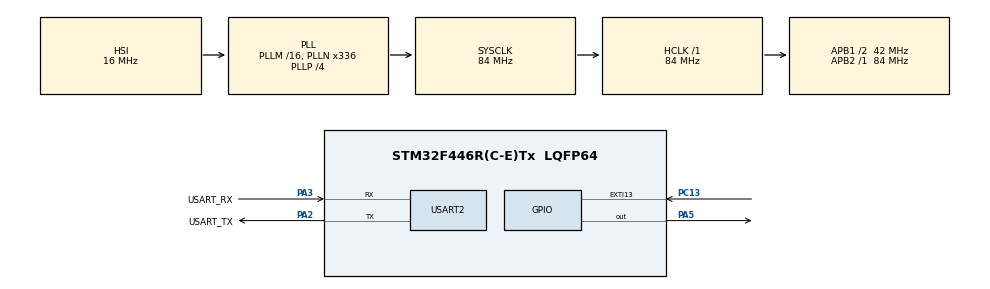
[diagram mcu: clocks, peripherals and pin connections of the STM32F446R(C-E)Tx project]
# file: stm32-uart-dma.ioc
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Dma.Request0=USART2_TX
Dma.Request1=USART2_RX
Dma.USART2_RX.1.Direction=DMA_PERIPH_TO_MEMORY
Dma.USART2_RX.1.FIFOMode=DMA_FIFOMODE_DISABLE
Dma.USART2_RX.1.Instance=DMA1_Stream5
Dma.USART2_RX.1.MemDataAlignment=DMA_MDATAALIGN_BYTE
Dma.USART2_RX.1.MemInc=DMA_MINC_ENABLE
Dma.USART2_RX.1.Mode=DMA_NORMAL
Dma.USART2_RX.1.PeriphDataAlignment=DMA_PDATAALIGN_BYTE
Dma.USART2_RX.1.PeriphInc=DMA_PINC_DISABLE
Dma.USART2_RX.1.Priority=DMA_PRIORITY_LOW
Dma.USART2_TX.0.Direction=DMA_MEMORY_TO_PERIPH
Dma.USART2_TX.0.FIFOMode=DMA_FIFOMODE_DISABLE
Dma.USART2_TX.0.Instance=DMA1_Stream6
Dma.USART2_TX.0.MemDataAlignment=DMA_MDATAALIGN_BYTE
Dma.USART2_TX.0.MemInc=DMA_MINC_ENABLE
Dma.USART2_TX.0.Mode=DMA_NORMAL
Dma.USART2_TX.0.PeriphDataAlignment=DMA_PDATAALIGN_BYTE
Dma.USART2_TX.0.PeriphInc=DMA_PINC_DISABLE
Dma.USART2_TX.0.Priority=DMA_PRIORITY_LOW
Mcu.Family=STM32F4
Mcu.Name=STM32F446R(C-E)Tx
Mcu.Package=LQFP64
NUCLEO-F446RE.BUTTON=1
NUCLEO-F446RE.LD1=true
NVIC.DMA1_Stream5_IRQn=true\:0\:0\:false\:false\:true\:false\:true\:true
NVIC.DMA1_Stream6_IRQn=true\:0\:0\:false\:false\:true\:false\:true\:true
NVIC.EXTI15_10_IRQn=true\:0\:0\:false\:false\:true\:false\:true\:true
NVIC.PriorityGroup=NVIC_PRIORITYGROUP_0
NVIC.USART2_IRQn=true\:0\:0\:false\:false\:true\:true\:true\:true
PA13.GPIO_Label=TMS
PA13.Signal=SYS_JTMS-SWDIO
PA14.GPIO_Label=TCK
PA14.Signal=SYS_JTCK-SWCLK
PA2.GPIO_Label=USART_TX
PA2.Mode=Asynchronous
PA2.Signal=USART2_TX
PA3.GPIO_Label=USART_RX
PA3.Mode=Asynchronous
PA3.Signal=USART2_RX
PA5.Signal=GPIO_Output
PB3.GPIO_Label=SWO
PB3.Signal=SYS_JTDO-SWO
PC13.Signal=GPXTI13
PC14-OSC32_IN.Signal=RCC_OSC32_IN
PC15-OSC32_OUT.Signal=RCC_OSC32_OUT
PH0-OSC_IN.Signal=RCC_OSC_IN
PH1-OSC_OUT.Signal=RCC_OSC_OUT
ProjectManager.HeapSize=0x200
ProjectManager.StackSize=0x400
ProjectManager.TargetToolchain=STM32CubeIDE
RCC.AHBFreq_Value=84000000
RCC.APB1CLKDivider=RCC_HCLK_DIV2
RCC.APB1Freq_Value=42000000
RCC.APB1TimFreq_Value=84000000
RCC.APB2Freq_Value=84000000
RCC.APB2TimFreq_Value=84000000
RCC.CortexFreq_Value=84000000
RCC.FLatency-AdvancedSettings=FLASH_LATENCY_2
RCC.HCLKFreq_Value=84000000
RCC.HSE_VALUE=8000000
RCC.HSI_VALUE=16000000
RCC.LSE_VALUE=32768
RCC.PLLN=336
RCC.PLLP=RCC_PLLP_DIV4
RCC.SYSCLKFreq_VALUE=84000000
RCC.SYSCLKSource=RCC_SYSCLKSOURCE_PLLCLK
RCC.USBFreq_Value=168000000
RCC.VCOOutputFreq_Value=336000000
USART2.VirtualMode=VM_ASYNC
VP_NUCLEO-F446RE_VS_BSP_COMMON.Mode=COMMON
board=NUCLEO-F446RE

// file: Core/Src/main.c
/* USER CODE BEGIN Header */
/**
 ******************************************************************************
 * @file           : main.c
 * @brief          : Main program body
 ******************************************************************************
 * @attention
 *
 * Copyright (c) 2026 STMicroelectronics.
 * All rights reserved.
 *
 * This software is licensed under terms that can be found in the LICENSE file
 * in the root directory of this software component.
 * If no LICENSE file comes with this software, it is provided AS-IS.
 *
 ******************************************************************************
 */
/* USER CODE END Header */
#include "main.h"

/* USER CODE BEGIN Includes */

#include <stdio.h>
#include <string.h>

/* USER CODE END Includes */

UART_HandleTypeDef huart2;
DMA_HandleTypeDef hdma_usart2_tx;
DMA_HandleTypeDef hdma_usart2_rx;

/* USER CODE BEGIN PV */

/* USER CODE BEGIN PV */

uint8_t rx_buffer[64];
uint8_t tx_buffer[64];

uint8_t command_buffer[64];

volatile uint16_t command_index = 0;
volatile uint8_t command_ready = 0;
volatile uint8_t command_overflow = 0;

volatile uint8_t uart_tx_busy = 0;

// 0 - LED OFF
// 1 - LED ON
// 2 - LED BLINK
volatile uint8_t led_mode = 0;

uint32_t last_led_update = 0;

/* USER CODE END PV */

/* USER CODE END PV */

void SystemClock_Config(void);
static void MX_GPIO_Init(void);
static void MX_DMA_Init(void);
static void MX_USART2_UART_Init(void);
/* USER CODE BEGIN PFP */

void Process_Command(void);

/* USER CODE END PFP */

int main(void) {

	/* MCU Configuration--------------------------------------------------------*/

	/* Reset of all peripherals, Initializes the Flash interface and the Systick. */
	HAL_Init();

	/* Configure the system clock */
	SystemClock_Config();

	/* Initialize all configured peripherals */
	MX_GPIO_Init();
	MX_DMA_Init();
	MX_USART2_UART_Init();
	/* USER CODE BEGIN 2 */

	/* Initialize leds */
	BSP_LED_Init(LED2);

	// HAL_UART_Receive_DMA(&huart2, rx_buffer, sizeof(rx_buffer));
	HAL_UARTEx_ReceiveToIdle_DMA(&huart2, rx_buffer, sizeof(rx_buffer));

	/* USER CODE END 2 */

	/* Initialize USER push-button, will be used to trigger an interrupt each time it's pressed.*/
	BSP_PB_Init(BUTTON_USER, BUTTON_MODE_EXTI);

	/* Infinite loop */
	while (1) {

		/* USER CODE BEGIN 3 */

		if (command_ready == 1 && uart_tx_busy == 0)
		{
		    command_ready = 0;

		    Process_Command();

		    command_index = 0;
		    command_overflow = 0;

		    HAL_UARTEx_ReceiveToIdle_DMA(
		        &huart2,
		        rx_buffer,
		        sizeof(rx_buffer)
		    );

		    __HAL_DMA_DISABLE_IT(huart2.hdmarx, DMA_IT_HT);

		    uart_tx_busy = 1;

		    if (HAL_UART_Transmit_DMA(
		            &huart2,
		            tx_buffer,
		            strlen((char *)tx_buffer)) != HAL_OK)
		    {
		        uart_tx_busy = 0;
		    }
		}

		if (led_mode == 2)
		{
		    if (HAL_GetTick() - last_led_update >= 500)
		    {
		        last_led_update = HAL_GetTick();
		        BSP_LED_Toggle(LED2);
		    }
		}

	}

//	Welcome to minicom 2.9
//
//	OPTIONS: I18n
//	Port /dev/ttyACM0, 14:48:08
//
//	Press CTRL-A Z for help on special keys
//
//	LED is ON
//	LED is OFF
//	LED is BLINKING
//	Unknown command
//	LED is OFF
//	LED is ON
//	Unknown command
//	LED is BLINKING

	/* USER CODE END 3 */
}

void SystemClock_Config(void) {
	RCC_OscInitTypeDef RCC_OscInitStruct = { 0 };
	RCC_ClkInitTypeDef RCC_ClkInitStruct = { 0 };

	/** Configure the main internal regulator output voltage
	 */
	__HAL_RCC_PWR_CLK_ENABLE();
	__HAL_PWR_VOLTAGESCALING_CONFIG(PWR_REGULATOR_VOLTAGE_SCALE3);

	/** Initializes the RCC Oscillators according to the specified parameters
	 * in the RCC_OscInitTypeDef structure.
	 */
	RCC_OscInitStruct.OscillatorType = RCC_OSCILLATORTYPE_HSI;
	RCC_OscInitStruct.HSIState = RCC_HSI_ON;
	RCC_OscInitStruct.HSICalibrationValue = RCC_HSICALIBRATION_DEFAULT;
	RCC_OscInitStruct.PLL.PLLState = RCC_PLL_ON;
	RCC_OscInitStruct.PLL.PLLSource = RCC_PLLSOURCE_HSI;
	RCC_OscInitStruct.PLL.PLLM = 16;
	RCC_OscInitStruct.PLL.PLLN = 336;
	RCC_OscInitStruct.PLL.PLLP = RCC_PLLP_DIV4;
	RCC_OscInitStruct.PLL.PLLQ = 2;
	RCC_OscInitStruct.PLL.PLLR = 2;
	if (HAL_RCC_OscConfig(&RCC_OscInitStruct) != HAL_OK) {
		Error_Handler();
	}

	/** Initializes the CPU, AHB and APB buses clocks
	 */
	RCC_ClkInitStruct.ClockType = RCC_CLOCKTYPE_HCLK | RCC_CLOCKTYPE_SYSCLK
			| RCC_CLOCKTYPE_PCLK1 | RCC_CLOCKTYPE_PCLK2;
	RCC_ClkInitStruct.SYSCLKSource = RCC_SYSCLKSOURCE_PLLCLK;
	RCC_ClkInitStruct.AHBCLKDivider = RCC_SYSCLK_DIV1;
	RCC_ClkInitStruct.APB1CLKDivider = RCC_HCLK_DIV2;
	RCC_ClkInitStruct.APB2CLKDivider = RCC_HCLK_DIV1;

	if (HAL_RCC_ClockConfig(&RCC_ClkInitStruct, FLASH_LATENCY_2) != HAL_OK) {
		Error_Handler();
	}
}

static void MX_USART2_UART_Init(void) {

	huart2.Instance = USART2;
	huart2.Init.BaudRate = 115200;
	huart2.Init.WordLength = UART_WORDLENGTH_8B;
	huart2.Init.StopBits = UART_STOPBITS_1;
	huart2.Init.Parity = UART_PARITY_NONE;
	huart2.Init.Mode = UART_MODE_TX_RX;
	huart2.Init.HwFlowCtl = UART_HWCONTROL_NONE;
	huart2.Init.OverSampling = UART_OVERSAMPLING_16;
	if (HAL_UART_Init(&huart2) != HAL_OK) {
		Error_Handler();
	}

}

static void MX_DMA_Init(void) {

	/* DMA controller clock enable */
	__HAL_RCC_DMA1_CLK_ENABLE();

	/* DMA interrupt init */
	/* DMA1_Stream5_IRQn interrupt configuration */
	HAL_NVIC_SetPriority(DMA1_Stream5_IRQn, 0, 0);
	HAL_NVIC_EnableIRQ(DMA1_Stream5_IRQn);
	/* DMA1_Stream6_IRQn interrupt configuration */
	HAL_NVIC_SetPriority(DMA1_Stream6_IRQn, 0, 0);
	HAL_NVIC_EnableIRQ(DMA1_Stream6_IRQn);

}

static void MX_GPIO_Init(void) {

	/* GPIO Ports Clock Enable */
	__HAL_RCC_GPIOC_CLK_ENABLE();
	__HAL_RCC_GPIOH_CLK_ENABLE();
	__HAL_RCC_GPIOA_CLK_ENABLE();
	__HAL_RCC_GPIOB_CLK_ENABLE();

}

/* USER CODE BEGIN 4 */

void HAL_UART_TxCpltCallback(UART_HandleTypeDef *huart) {

	if (huart->Instance == USART2) {
		uart_tx_busy = 0;
	}
}

void HAL_UARTEx_RxEventCallback(
        UART_HandleTypeDef *huart,
        uint16_t Size)
{
    if (huart->Instance == USART2)
    {
        for (uint16_t i = 0; i < Size; i++)
        {
            uint8_t received_char = rx_buffer[i];

            if (received_char == '\r' || received_char == '\n')
            {
                if (command_index > 0 && command_ready == 0)
                {
                    command_buffer[command_index] = '\0';
                    command_ready = 1;
                }
            }
            else
            {
                if (command_ready == 0 && command_overflow == 0)
                {
                    if (command_index < sizeof(command_buffer) - 1)
                    {
                        command_buffer[command_index] = received_char;
                        command_index++;
                    }
                    else
                    {
                        command_overflow = 1;
                    }
                }
            }
        }

        if (command_ready == 0)
        {
            HAL_UARTEx_ReceiveToIdle_DMA(
                &huart2,
                rx_buffer,
                sizeof(rx_buffer)
            );

            __HAL_DMA_DISABLE_IT(huart2.hdmarx, DMA_IT_HT);
        }
    }
}

void Process_Command(void)
{
    if (command_overflow == 1)
    {
        strcpy((char *)tx_buffer, "Command too long\r\n");
        return;
    }

    if (strcmp((char *)command_buffer, "LED ON") == 0)
    {
        led_mode = 1;

        BSP_LED_On(LED2);

        strcpy((char *)tx_buffer, "LED is ON\r\n");
    }
    else if (strcmp((char *)command_buffer, "LED OFF") == 0)
    {
        led_mode = 0;

        BSP_LED_Off(LED2);

        strcpy((char *)tx_buffer, "LED is OFF\r\n");
    }
    else if (strcmp((char *)command_buffer, "LED BLINK") == 0)
    {
        led_mode = 2;

        last_led_update = HAL_GetTick();

        strcpy((char *)tx_buffer, "LED is BLINKING\r\n");
    }
    else if (strcmp((char *)command_buffer, "STATUS") == 0)
    {
        if (led_mode == 0)
        {
            strcpy((char *)tx_buffer, "LED status: OFF\r\n");
        }
        else if (led_mode == 1)
        {
            strcpy((char *)tx_buffer, "LED status: ON\r\n");
        }
        else
        {
            strcpy((char *)tx_buffer, "LED status: BLINKING\r\n");
        }
    }
    else
    {
        strcpy((char *)tx_buffer, "Unknown command\r\n");
    }
}

/* USER CODE END 4 */

void Error_Handler(void) {
	__disable_irq();
	while (1) {
	}
}
